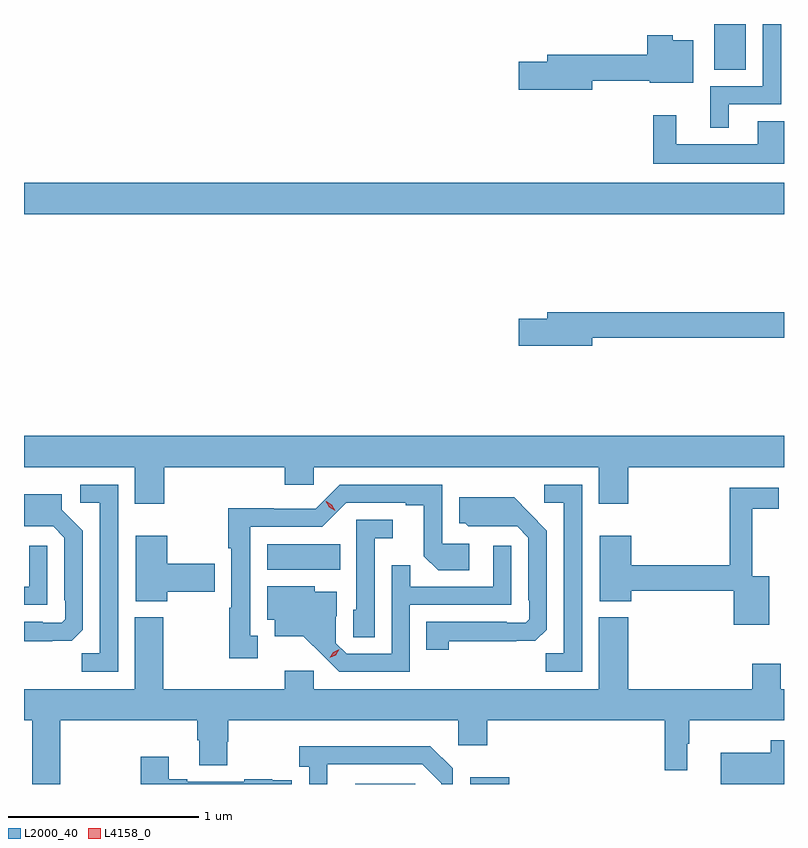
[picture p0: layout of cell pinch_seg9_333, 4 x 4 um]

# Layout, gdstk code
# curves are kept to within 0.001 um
import gdstk
lib = gdstk.Library(unit=1e-6, precision=1e-09)
def R(c, l, rs):  # rectangles x0, y0, x1, y1
    for r in rs: c.add(gdstk.rectangle(r[:2], r[2:], *l))
def P(c, l, *ps):  # polygons
    for p in ps: c.add(gdstk.Polygon(p, *l))
L2000_40 = (2000, 40)
L4158_0 = (4158, 0)

pinch_seg9_333 = lib.new_cell('pinch_seg9_333')
R(pinch_seg9_333, L2000_40, [(638.889,1180.1,639.205,1180.101), (639.494,1180.1,639.701,1180.135), (638.426,1181.228,638.81,1181.362), (637.146,1183.1,641.146,1183.264), (640.778,1183.858,640.945,1184.1)])
P(pinch_seg9_333, L2000_40, [(640.855,1183.677),(641.132,1183.677),(641.132,1184.1),(641.034,1184.1),(641.034,1183.773),(640.757,1183.773),(640.757,1183.553),(640.855,1183.553)],
  [(640.138,1183.801),(640.439,1183.801),(640.439,1183.79),(640.669,1183.79),(640.669,1184.014),(640.56,1184.014),(640.56,1184.041),(640.427,1184.041),(640.427,1183.937),(639.899,1183.937),(639.899,1183.901),(639.75,1183.901),(639.75,1183.754),(640.138,1183.754)],
  [(641.146,1183.587),(641.009,1183.587),(641.009,1183.468),(640.579,1183.468),(640.579,1183.621),(640.458,1183.621),(640.458,1183.364),(641.146,1183.364)],
  [(640.138,1182.448),(641.146,1182.448),(641.146,1182.584),(639.899,1182.584),(639.899,1182.548),(639.75,1182.548),(639.75,1182.406),(640.138,1182.406)],
  [(637.883,1181.768),(638.519,1181.768),(638.519,1181.675),(638.67,1181.675),(638.67,1181.768),(640.172,1181.768),(640.172,1181.574),(640.325,1181.574),(640.325,1181.768),(641.146,1181.768),(641.146,1181.932),(637.146,1181.932),(637.146,1181.768),(637.73,1181.768),(637.73,1181.574),(637.883,1181.574)],
  [(638.377,1180.881),(638.338,1180.881),(638.338,1181.454),(638.715,1181.454),(638.841,1181.58),(639.155,1181.58),(639.155,1181.568),(639.249,1181.568),(639.249,1181.3),(639.325,1181.224),(639.49,1181.224),(639.49,1181.364),(639.348,1181.364),(639.348,1181.676),(638.808,1181.676),(638.682,1181.55),(638.46,1181.55),(638.46,1181.552),(638.22,1181.552),(638.22,1181.341),(638.237,1181.341),(638.237,1181.027),(638.227,1181.027),(638.227,1180.761),(638.377,1180.761)],
  [(640.083,1181.676),(639.885,1181.676),(639.885,1181.58),(639.987,1181.58),(639.987,1180.787),(639.892,1180.787),(639.892,1180.692),(640.083,1180.692)],
  [(637.641,1181.676),(637.443,1181.676),(637.443,1181.58),(637.545,1181.58),(637.545,1180.787),(637.45,1180.787),(637.45,1180.692),(637.641,1180.692)],
  [(641.068,1181.194),(640.979,1181.194),(640.979,1181.55),(641.119,1181.55),(641.119,1181.658),(640.861,1181.658),(640.861,1181.252),(640.342,1181.252),(640.342,1181.407),(640.175,1181.407),(640.175,1181.063),(640.342,1181.063),(640.342,1181.116),(640.881,1181.116),(640.881,1180.937),(641.068,1180.937)],
  [(637.295,1180.853),(637.396,1180.853),(637.455,1180.912),(637.455,1181.434),(637.345,1181.544),(637.345,1181.626),(637.146,1181.626),(637.146,1181.456),(637.299,1181.457),(637.359,1181.397),(637.359,1181.068),(637.362,1181.068),(637.362,1180.968),(637.344,1180.95),(637.244,1180.95),(637.244,1180.953),(637.146,1180.953),(637.146,1180.852)],
  [(639.381,1180.852),(639.838,1180.853),(639.897,1180.912),(639.897,1181.434),(639.725,1181.608),(639.437,1181.608),(639.437,1181.472),(639.468,1181.472),(639.484,1181.456),(639.741,1181.457),(639.801,1181.397),(639.801,1181.068),(639.804,1181.068),(639.804,1180.968),(639.786,1180.95),(639.686,1180.95),(639.686,1180.953),(639.262,1180.953),(639.262,1180.806),(639.381,1180.806)],
  [(638.991,1181.393),(639.088,1181.393),(639.088,1181.49),(638.895,1181.49),(638.895,1181.016),(638.88,1181.016),(638.88,1180.873),(638.991,1180.873)],
  [(637.9,1181.111),(638.149,1181.111),(638.149,1181.258),(637.9,1181.258),(637.9,1181.407),(637.733,1181.407),(637.733,1181.063),(637.9,1181.063)],
  [(637.269,1181.353),(637.173,1181.353),(637.173,1181.139),(637.146,1181.139),(637.146,1181.043),(637.269,1181.043)],
  [(639.177,1181.043),(639.711,1181.043),(639.711,1181.353),(639.615,1181.353),(639.615,1181.139),(639.179,1181.139),(639.179,1181.252),(639.081,1181.252),(639.081,1180.785),(638.844,1180.785),(638.787,1180.842),(638.787,1180.984),(638.791,1180.984),(638.791,1181.113),(638.676,1181.113),(638.676,1181.14),(638.426,1181.14),(638.426,1180.964),(638.465,1180.964),(638.465,1180.877),(638.617,1180.877),(638.804,1180.692),(639.177,1180.692)],
  [(638.67,1180.696),(638.519,1180.696),(638.519,1180.6),(637.878,1180.6),(637.878,1180.978),(637.73,1180.978),(637.73,1180.6),(637.146,1180.6),(637.146,1180.436),(637.19,1180.436),(637.19,1180.1),(637.338,1180.1),(637.338,1180.436),(638.057,1180.436),(638.057,1180.33),(638.069,1180.33),(638.069,1180.198),(638.217,1180.198),(638.217,1180.323),(638.222,1180.323),(638.222,1180.436),(639.432,1180.436),(639.432,1180.305),(639.584,1180.305),(639.584,1180.436),(640.519,1180.436),(640.519,1180.173),(640.636,1180.173),(640.636,1180.313),(640.648,1180.313),(640.648,1180.436),(641.146,1180.436),(641.146,1180.6),(641.13,1180.6),(641.13,1180.732),(640.979,1180.732),(640.979,1180.6),(640.325,1180.6),(640.325,1180.978),(640.172,1180.978),(640.172,1180.6),(638.67,1180.6)],
  [(641.146,1180.33),(641.076,1180.33),(641.076,1180.264),(640.814,1180.264),(640.814,1180.1),(641.146,1180.1)],
  [(638.743,1180.203),(639.243,1180.203),(639.341,1180.105),(639.341,1180.1),(639.402,1180.1),(639.402,1180.182),(639.284,1180.3),(638.595,1180.3),(638.595,1180.19),(638.646,1180.19),(638.646,1180.1),(638.743,1180.1)],
  [(638.555,1180.119),(638.453,1180.119),(638.453,1180.126),(638.305,1180.126),(638.305,1180.113),(638.005,1180.113),(638.005,1180.126),(637.909,1180.126),(637.909,1180.243),(637.761,1180.243),(637.761,1180.1),(638.555,1180.1)])
P(pinch_seg9_333, L4158_0, [(638.756,1180.764),(638.756,1180.764),(638.773,1180.793),(638.804,1180.808),(638.804,1180.808),(638.804,1180.808),(638.787,1180.778),(638.756,1180.764)],
  [(638.784,1181.537),(638.752,1181.556),(638.735,1181.589),(638.735,1181.589),(638.736,1181.589),(638.767,1181.57),(638.784,1181.537),(638.784,1181.537)])

lib.write_gds('pinch_seg9_333.gds')
